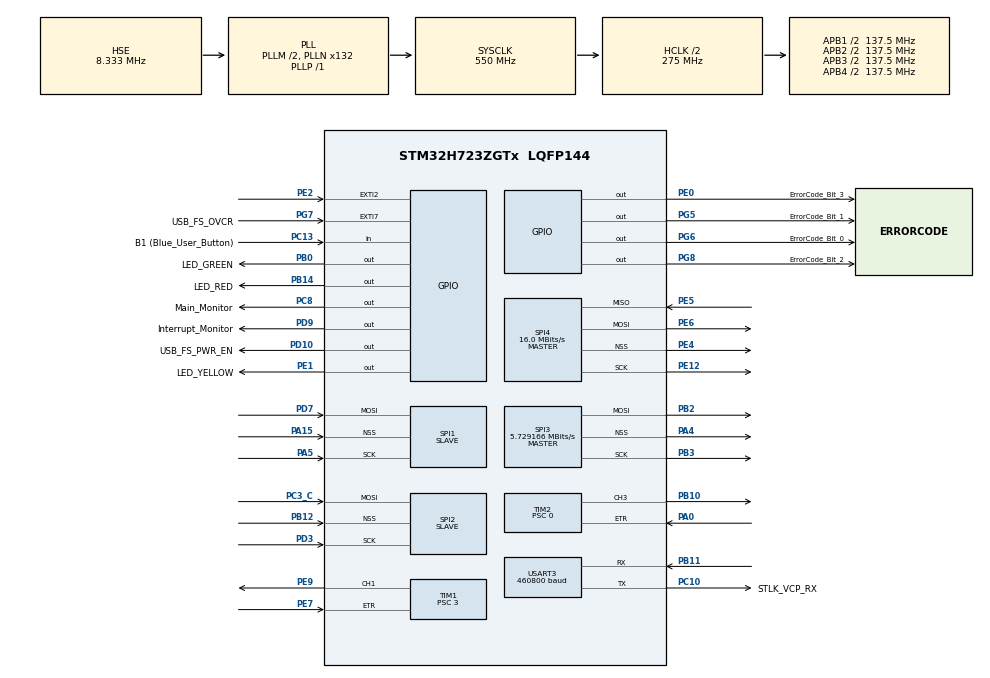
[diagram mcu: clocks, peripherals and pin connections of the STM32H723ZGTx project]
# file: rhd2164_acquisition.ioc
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Dma.Request0=SPI3_TX
Dma.Request1=SPI1_RX
Dma.Request2=USART3_TX
Dma.Request3=SPI2_RX
Dma.Request4=SPI4_TX
Dma.SPI1_RX.1.Direction=DMA_PERIPH_TO_MEMORY
Dma.SPI1_RX.1.EventEnable=DISABLE
Dma.SPI1_RX.1.FIFOMode=DMA_FIFOMODE_DISABLE
Dma.SPI1_RX.1.Instance=DMA1_Stream0
Dma.SPI1_RX.1.MemDataAlignment=DMA_MDATAALIGN_WORD
Dma.SPI1_RX.1.MemInc=DMA_MINC_ENABLE
Dma.SPI1_RX.1.Mode=DMA_NORMAL
Dma.SPI1_RX.1.PeriphDataAlignment=DMA_PDATAALIGN_WORD
Dma.SPI1_RX.1.PeriphInc=DMA_PINC_DISABLE
Dma.SPI1_RX.1.Polarity=HAL_DMAMUX_REQ_GEN_RISING
Dma.SPI1_RX.1.Priority=DMA_PRIORITY_VERY_HIGH
Dma.SPI1_RX.1.RequestNumber=1
Dma.SPI1_RX.1.SignalID=NONE
Dma.SPI1_RX.1.SyncEnable=DISABLE
Dma.SPI1_RX.1.SyncPolarity=HAL_DMAMUX_SYNC_NO_EVENT
Dma.SPI1_RX.1.SyncRequestNumber=1
Dma.SPI1_RX.1.SyncSignalID=NONE
Dma.SPI2_RX.3.Direction=DMA_PERIPH_TO_MEMORY
Dma.SPI2_RX.3.EventEnable=DISABLE
Dma.SPI2_RX.3.FIFOMode=DMA_FIFOMODE_DISABLE
Dma.SPI2_RX.3.Instance=DMA1_Stream3
Dma.SPI2_RX.3.MemDataAlignment=DMA_MDATAALIGN_BYTE
Dma.SPI2_RX.3.MemInc=DMA_MINC_ENABLE
Dma.SPI2_RX.3.Mode=DMA_NORMAL
Dma.SPI2_RX.3.PeriphDataAlignment=DMA_PDATAALIGN_BYTE
Dma.SPI2_RX.3.PeriphInc=DMA_PINC_DISABLE
Dma.SPI2_RX.3.Polarity=HAL_DMAMUX_REQ_GEN_RISING
Dma.SPI2_RX.3.Priority=DMA_PRIORITY_VERY_HIGH
Dma.SPI2_RX.3.RequestNumber=1
Dma.SPI2_RX.3.SignalID=NONE
Dma.SPI2_RX.3.SyncEnable=DISABLE
Dma.SPI2_RX.3.SyncPolarity=HAL_DMAMUX_SYNC_NO_EVENT
Dma.SPI2_RX.3.SyncRequestNumber=1
Dma.SPI2_RX.3.SyncSignalID=NONE
Dma.SPI3_TX.0.Direction=DMA_MEMORY_TO_PERIPH
Dma.SPI3_TX.0.EventEnable=DISABLE
Dma.SPI3_TX.0.FIFOMode=DMA_FIFOMODE_DISABLE
Dma.SPI3_TX.0.Instance=DMA1_Stream1
Dma.SPI3_TX.0.MemDataAlignment=DMA_MDATAALIGN_HALFWORD
Dma.SPI3_TX.0.MemInc=DMA_MINC_ENABLE
Dma.SPI3_TX.0.Mode=DMA_NORMAL
Dma.SPI3_TX.0.PeriphDataAlignment=DMA_PDATAALIGN_HALFWORD
Dma.SPI3_TX.0.PeriphInc=DMA_PINC_DISABLE
Dma.SPI3_TX.0.Polarity=HAL_DMAMUX_REQ_GEN_RISING
Dma.SPI3_TX.0.Priority=DMA_PRIORITY_VERY_HIGH
Dma.SPI3_TX.0.RequestNumber=1
Dma.SPI3_TX.0.SignalID=NONE
Dma.SPI3_TX.0.SyncEnable=DISABLE
Dma.SPI3_TX.0.SyncPolarity=HAL_DMAMUX_SYNC_NO_EVENT
Dma.SPI3_TX.0.SyncRequestNumber=1
Dma.SPI3_TX.0.SyncSignalID=NONE
Dma.SPI4_TX.4.Direction=DMA_MEMORY_TO_PERIPH
Dma.SPI4_TX.4.EventEnable=DISABLE
Dma.SPI4_TX.4.FIFOMode=DMA_FIFOMODE_DISABLE
Dma.SPI4_TX.4.Instance=DMA1_Stream4
Dma.SPI4_TX.4.MemDataAlignment=DMA_MDATAALIGN_BYTE
Dma.SPI4_TX.4.MemInc=DMA_MINC_ENABLE
Dma.SPI4_TX.4.Mode=DMA_NORMAL
Dma.SPI4_TX.4.PeriphDataAlignment=DMA_PDATAALIGN_BYTE
Dma.SPI4_TX.4.PeriphInc=DMA_PINC_DISABLE
Dma.SPI4_TX.4.Polarity=HAL_DMAMUX_REQ_GEN_RISING
Dma.SPI4_TX.4.Priority=DMA_PRIORITY_HIGH
Dma.SPI4_TX.4.RequestNumber=1
Dma.SPI4_TX.4.SignalID=NONE
Dma.SPI4_TX.4.SyncEnable=DISABLE
Dma.SPI4_TX.4.SyncPolarity=HAL_DMAMUX_SYNC_NO_EVENT
Dma.SPI4_TX.4.SyncRequestNumber=1
Dma.SPI4_TX.4.SyncSignalID=NONE
Dma.USART3_TX.2.Direction=DMA_MEMORY_TO_PERIPH
Dma.USART3_TX.2.EventEnable=DISABLE
Dma.USART3_TX.2.FIFOMode=DMA_FIFOMODE_DISABLE
Dma.USART3_TX.2.Instance=DMA1_Stream2
Dma.USART3_TX.2.MemDataAlignment=DMA_MDATAALIGN_BYTE
Dma.USART3_TX.2.MemInc=DMA_MINC_ENABLE
Dma.USART3_TX.2.Mode=DMA_NORMAL
Dma.USART3_TX.2.PeriphDataAlignment=DMA_PDATAALIGN_BYTE
Dma.USART3_TX.2.PeriphInc=DMA_PINC_DISABLE
Dma.USART3_TX.2.Polarity=HAL_DMAMUX_REQ_GEN_RISING
Dma.USART3_TX.2.Priority=DMA_PRIORITY_VERY_HIGH
Dma.USART3_TX.2.RequestNumber=1
Dma.USART3_TX.2.SignalID=NONE
Dma.USART3_TX.2.SyncEnable=DISABLE
Dma.USART3_TX.2.SyncPolarity=HAL_DMAMUX_SYNC_NO_EVENT
Dma.USART3_TX.2.SyncRequestNumber=1
Dma.USART3_TX.2.SyncSignalID=NONE
Mcu.Family=STM32H7
Mcu.Name=STM32H723ZGTx
Mcu.Package=LQFP144
NVIC.DMA1_Stream0_IRQn=true\:1\:0\:true\:false\:true\:false\:true\:true
NVIC.DMA1_Stream1_IRQn=true\:1\:0\:true\:false\:true\:false\:true\:true
NVIC.DMA1_Stream2_IRQn=true\:1\:0\:true\:false\:true\:false\:true\:true
NVIC.DMA1_Stream3_IRQn=true\:0\:0\:false\:false\:true\:false\:true\:true
NVIC.DMA1_Stream4_IRQn=true\:0\:0\:false\:false\:true\:false\:true\:true
NVIC.EXTI2_IRQn=true\:0\:0\:false\:false\:true\:true\:true\:true
NVIC.PriorityGroup=NVIC_PRIORITYGROUP_4
NVIC.SPI1_IRQn=true\:1\:0\:true\:false\:true\:false\:true\:true
NVIC.SPI2_IRQn=true\:0\:0\:false\:false\:true\:true\:true\:true
NVIC.SPI3_IRQn=true\:1\:0\:true\:false\:true\:false\:true\:true
NVIC.SPI4_IRQn=true\:0\:0\:false\:false\:true\:false\:true\:true
NVIC.TIM3_IRQn=true\:1\:0\:true\:false\:true\:true\:true\:true
NVIC.USART3_IRQn=true\:1\:0\:true\:false\:true\:true\:true\:true
PA0.GPIO_Speed=GPIO_SPEED_FREQ_VERY_HIGH
PA0.Signal=S_TIM2_CH1_ETR
PA1.GPIO_Label=RMII_REF_CLK
PA1.Signal=ETH_REF_CLK
PA10.GPIO_Label=USB_FS_ID
PA10.Signal=USB_OTG_HS_ID
PA13(JTMS/SWDIO).GPIO_Label=SWDIO
PA13(JTMS/SWDIO).Signal=DEBUG_JTMS-SWDIO
PA14(JTCK/SWCLK).GPIO_Label=SWCLK
PA14(JTCK/SWCLK).Signal=DEBUG_JTCK-SWCLK
PA15(JTDI).GPIO_Speed=GPIO_SPEED_FREQ_VERY_HIGH
PA15(JTDI).Mode=NSS_Signal_Hard_Input
PA15(JTDI).Signal=SPI1_NSS
PA2.GPIO_Label=RMII_MDIO
PA2.Signal=ETH_MDIO
PA4.GPIO_Speed=GPIO_SPEED_FREQ_VERY_HIGH
PA4.Mode=NSS_Signal_Hard_Output
PA4.Signal=SPI3_NSS
PA5.GPIO_Speed=GPIO_SPEED_FREQ_VERY_HIGH
PA5.Mode=RX_Only_Simplex_Unidirect_Slave
PA5.Signal=SPI1_SCK
PA7.GPIO_Label=RMII_CRS_DV
PA7.Signal=ETH_CRS_DV
PA9.GPIO_Label=USB_FS_VBUS
PA9.Signal=USB_OTG_HS_VBUS
PB0.GPIO_Label=LED_GREEN
PB0.Signal=GPIO_Output
PB10.GPIO_Speed=GPIO_SPEED_FREQ_VERY_HIGH
PB10.Signal=S_TIM2_CH3
PB11.GPIO_Speed=GPIO_SPEED_FREQ_VERY_HIGH
PB11.Mode=Asynchronous
PB11.Signal=USART3_RX
PB12.GPIO_Speed=GPIO_SPEED_FREQ_VERY_HIGH
PB12.Mode=NSS_Signal_Hard_Input
PB12.Signal=SPI2_NSS
PB13.GPIO_Label=RMII_TXD1
PB13.Signal=ETH_TXD1
PB14.GPIO_Label=LED_RED
PB14.Signal=GPIO_Output
PB2.GPIO_Speed=GPIO_SPEED_FREQ_VERY_HIGH
PB2.Mode=TX_Only_Simplex_Unidirect_Master
PB2.Signal=SPI3_MOSI
PB3(JTDO/TRACESWO).GPIO_Speed=GPIO_SPEED_FREQ_VERY_HIGH
PB3(JTDO/TRACESWO).Mode=TX_Only_Simplex_Unidirect_Master
PB3(JTDO/TRACESWO).Signal=SPI3_SCK
PC1.GPIO_Label=RMII_MDC
PC1.Signal=ETH_MDC
PC10.GPIO_Label=STLK_VCP_RX
PC10.GPIO_Speed=GPIO_SPEED_FREQ_VERY_HIGH
PC10.Mode=Asynchronous
PC10.Signal=USART3_TX
PC13.GPIO_Label=B1 (Blue_User_Button)
PC13.Signal=GPIO_Input
PC14-OSC32_IN.Mode=LSE-External-Oscillator
PC14-OSC32_IN.Signal=RCC_OSC32_IN
PC15-OSC32_OUT.Mode=LSE-External-Oscillator
PC15-OSC32_OUT.Signal=RCC_OSC32_OUT
PC3_C.GPIO_Speed=GPIO_SPEED_FREQ_VERY_HIGH
PC3_C.Mode=RX_Only_Simplex_Unidirect_Slave
PC3_C.Signal=SPI2_MOSI
PC4.GPIO_Label=RMII_RXD0
PC4.Signal=ETH_RXD0
PC5.GPIO_Label=RMII_RXD1
PC5.Signal=ETH_RXD1
PC6.GPIO_Speed=GPIO_SPEED_FREQ_VERY_HIGH
PC6.Signal=S_TIM8_CH1
PC8.GPIO_Label=Main_Monitor
PC8.GPIO_Speed=GPIO_SPEED_FREQ_VERY_HIGH
PC8.Signal=GPIO_Output
PD10.GPIO_Label=USB_FS_PWR_EN
PD10.Signal=GPIO_Output
PD3.GPIO_Speed=GPIO_SPEED_FREQ_VERY_HIGH
PD3.Mode=RX_Only_Simplex_Unidirect_Slave
PD3.Signal=SPI2_SCK
PD7.GPIO_Speed=GPIO_SPEED_FREQ_VERY_HIGH
PD7.Mode=RX_Only_Simplex_Unidirect_Slave
PD7.Signal=SPI1_MOSI
PD9.GPIO_Label=Interrupt_Monitor
PD9.GPIO_Speed=GPIO_SPEED_FREQ_VERY_HIGH
PD9.PinState=GPIO_PIN_SET
PD9.Signal=GPIO_Output
PE0.GPIO_Label=ErrorCode_Bit_3
PE0.GPIO_Speed=GPIO_SPEED_FREQ_VERY_HIGH
PE0.Signal=GPIO_Output
PE1.GPIO_Label=LED_YELLOW
PE1.Signal=GPIO_Output
PE12.Mode=Full_Duplex_Master
PE12.Signal=SPI4_SCK
PE2.GPIO_ModeDefaultEXTI=GPIO_MODE_IT_FALLING
PE2.Signal=GPXTI2
PE4.Mode=NSS_Signal_Hard_Output
PE4.Signal=SPI4_NSS
PE5.Mode=Full_Duplex_Master
PE5.Signal=SPI4_MISO
PE6.Mode=Full_Duplex_Master
PE6.Signal=SPI4_MOSI
PE7.Signal=S_TIM1_ETR
PE9.GPIO_Speed=GPIO_SPEED_FREQ_VERY_HIGH
PE9.Signal=S_TIM1_CH1
PG11.GPIO_Label=RMII_TX_EN
PG11.Signal=ETH_TX_EN
PG13.GPIO_Label=RMII_TXD0
PG13.Signal=ETH_TXD0
PG5.GPIO_Label=ErrorCode_Bit_1
PG5.GPIO_Speed=GPIO_SPEED_FREQ_VERY_HIGH
PG5.Signal=GPIO_Output
PG6.GPIO_Label=ErrorCode_Bit_0
PG6.GPIO_Speed=GPIO_SPEED_FREQ_VERY_HIGH
PG6.Signal=GPIO_Output
PG7.GPIO_Label=USB_FS_OVCR
PG7.Signal=GPXTI7
PG8.GPIO_Label=ErrorCode_Bit_2
PG8.GPIO_Speed=GPIO_SPEED_FREQ_VERY_HIGH
PG8.Signal=GPIO_Output
PH0-OSC_IN.GPIO_Label=MCO
PH0-OSC_IN.Mode=HSE-External-Clock-Source
PH0-OSC_IN.Signal=RCC_OSC_IN
PH1-OSC_OUT.Signal=RCC_OSC_OUT
ProjectManager.HeapSize=0x200
ProjectManager.StackSize=0x400
ProjectManager.TargetToolchain=STM32CubeIDE
RCC.ADCFreq_Value=91666663
RCC.APB1Freq_Value=137499994.5
RCC.APB2Freq_Value=137499994.5
RCC.APB3Freq_Value=137499994.5
RCC.APB4Freq_Value=137499994.5
RCC.CortexFreq_Value=549999978
RCC.D1PPRE=RCC_APB3_DIV2
RCC.D2PPRE1=RCC_APB1_DIV2
RCC.D2PPRE2=RCC_APB2_DIV2
RCC.D3PPRE=RCC_APB4_DIV2
RCC.DIVM1=2
RCC.DIVM2=1
RCC.DIVN1=132
RCC.DIVN2=33
RCC.DIVP1=1
RCC.DIVP2=3
RCC.DIVQ1=4
RCC.HCLKFreq_Value=274999989
RCC.HPRE=RCC_HCLK_DIV2
RCC.HSE_VALUE=8333333
RCC.PLL2FRACN=0
RCC.PLL3FRACN=0
RCC.PLL3_VCI_Range-AdvancedSettings=RCC_PLL3VCIRANGE_3
RCC.PLL3_VCO_SEL-AdvancedSettings=RCC_PLL3VCOMEDIUM
RCC.PLLFRACN=0
RCC.PLLSourceVirtual=RCC_PLLSOURCE_HSE
RCC.SPI123CLockSelection=RCC_SPI123CLKSOURCE_PLL2
RCC.SYSCLKFreq_VALUE=549999978
RCC.SYSCLKSource=RCC_SYSCLKSOURCE_PLLCLK
RCC.Spi45ClockSelection=RCC_SPI45CLKSOURCE_HSI
RCC.USBCLockSelection=RCC_USBCLKSOURCE_HSI48
RCC.USBFreq_Value=48000000
SH.S_TIM1_CH1.0=TIM1_CH1,PWM Generation1 CH1
SH.S_TIM1_ETR.0=TIM1_ETR,TriggerSource_ETR
SH.S_TIM2_CH1_ETR.0=TIM2_ETR,TriggerSource_ETR
SH.S_TIM2_CH3.0=TIM2_CH3,PWM Generation3 CH3
SH.S_TIM8_CH1.0=TIM8_CH1
SPI1.DataSize=SPI_DATASIZE_32BIT
SPI1.Direction=SPI_DIRECTION_2LINES_RXONLY
SPI1.Mode=SPI_MODE_SLAVE
SPI1.VirtualNSS=VM_NSSHARD
SPI1.VirtualType=VM_SLAVE
SPI2.DataSize=SPI_DATASIZE_32BIT
SPI2.Direction=SPI_DIRECTION_2LINES_RXONLY
SPI2.Mode=SPI_MODE_SLAVE
SPI2.VirtualNSS=VM_NSSHARD
SPI2.VirtualType=VM_SLAVE
SPI3.BaudRatePrescaler=SPI_BAUDRATEPRESCALER_16
SPI3.CalculateBaudRate=5.729166 MBits/s
SPI3.DataSize=SPI_DATASIZE_16BIT
SPI3.Direction=SPI_DIRECTION_2LINES_TXONLY
SPI3.MasterInterDataIdleness=SPI_MASTER_INTERDATA_IDLENESS_06CYCLE
SPI3.Mode=SPI_MODE_MASTER
SPI3.VirtualNSS=VM_NSSHARD
SPI3.VirtualType=VM_MASTER
SPI4.BaudRatePrescaler=SPI_BAUDRATEPRESCALER_4
SPI4.CalculateBaudRate=16.0 MBits/s
SPI4.DataSize=SPI_DATASIZE_8BIT
SPI4.Direction=SPI_DIRECTION_2LINES
SPI4.Mode=SPI_MODE_MASTER
SPI4.VirtualNSS=VM_NSSHARD
SPI4.VirtualType=VM_MASTER
STMicroelectronics.X-CUBE-ALGOBUILD.1.4.0.LibraryCcDSPOoLibraryJjDSPOoLibrary=true
TIM1.AutoReloadPreload=TIM_AUTORELOAD_PRELOAD_DISABLE
TIM1.Break2Polarity=TIM_BREAK2POLARITY_LOW
TIM1.BreakPolarity=TIM_BREAKPOLARITY_LOW
TIM1.Channel-PWM\ Generation1\ CH1=TIM_CHANNEL_1
TIM1.OC1Preload_PWM=DISABLE
TIM1.OCFastMode_PWM-PWM\ Generation1\ CH1=TIM_OCFAST_ENABLE
TIM1.OCIdleState_1=TIM_OCIDLESTATE_SET
TIM1.OCMode_PWM-PWM\ Generation1\ CH1=TIM_OCMODE_PWM1
TIM1.OCPolarity_1=TIM_OCPOLARITY_HIGH
TIM1.Period=5
TIM1.Prescaler=3
TIM1.Pulse-PWM\ Generation1\ CH1=3
TIM1.RepetitionCounter=31
TIM1.Slave_TriggerFilter=5
TIM1.Slave_TriggerPolarity=TIM_TRIGGERPOLARITY_INVERTED
TIM2.Channel-PWM\ Generation3\ CH3=TIM_CHANNEL_3
TIM2.OCMode_PWM-PWM\ Generation3\ CH3=TIM_OCMODE_PWM2
TIM2.Period=10
TIM2.Prescaler=0
TIM2.Pulse-PWM\ Generation3\ CH3=1
TIM2.Slave_TriggerPolarity=TIM_TRIGGERPOLARITY_INVERTED
TIM2.TIM_MasterOutputTrigger=TIM_TRGO_OC3REF
TIM3.AutoReloadPreload=TIM_AUTORELOAD_PRELOAD_ENABLE
TIM3.Channel-Output\ Compare1\ No\ Output=TIM_CHANNEL_1
TIM3.Period=13750
TIM3.Prescaler=3
USART3.BaudRate=460800
USART3.Mode=MODE_TX
USART3.OverSampling=UART_OVERSAMPLING_8
USART3.OverrunDisableParam=ADVFEATURE_OVERRUN_ENABLE
USART3.VirtualMode-Asynchronous=VM_ASYNC
VP_MEMORYMAP_VS_MEMORYMAP.Mode=CurAppReg
VP_STMicroelectronics.X-CUBE-ALGOBUILD_VS_DSPOoLibraryJjLibrary_1.4.0_1.4.0.Mode=DSPOoLibraryJjLibrary
VP_TIM1_VS_ClockSourceINT.Mode=Internal
VP_TIM1_VS_ControllerModeTrigger.Mode=Trigger Mode
VP_TIM1_VS_OPM.Mode=OPM_bit
VP_TIM2_VS_ControllerModeTrigger.Mode=Trigger Mode
VP_TIM2_VS_OPM.Mode=OPM_bit
VP_TIM3_VS_no_output1.Mode=Output Compare1 No Output
board=NUCLEO-H723ZG

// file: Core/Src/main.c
/* USER CODE BEGIN Header */
/**
  ******************************************************************************
  * @file           : main.c
  * @brief          : Main program body
  ******************************************************************************
  * @attention
  *
  * Copyright (c) 2023 STMicroelectronics.
  * All rights reserved.
  *
  * This software is licensed under terms that can be found in the LICENSE file
  * in the root directory of this software component.
  * If no LICENSE file comes with this software, it is provided AS-IS.
  *
  ******************************************************************************

  Intan Technologies RHD STM32 Firmware Framework
  Version 1.1

  Copyright (c) 2024 Intan Technologies

  This file is part of the Intan Technologies RHD STM32 Firmware Framework.

  Permission is hereby granted, free of charge, to any person obtaining a copy
  of this software and associated documentation files (the “Software�?), to deal
  in the Software without restriction, including without limitation the rights
  to use, copy, modify, merge, publish, distribute, sublicense, and/or sell
  copies of the Software, and to permit persons to whom the Software is
  furnished to do so, subject to the following conditions:

  The above copyright notice and this permission notice shall be included in
  all copies or substantial portions of the Software.

  THE SOFTWARE IS PROVIDED “AS IS�?, WITHOUT WARRANTY OF ANY KIND, EXPRESS OR
  IMPLIED, INCLUDING BUT NOT LIMITED TO THE WARRANTIES OF MERCHANTABILITY,
  FITNESS FOR A PARTICULAR PURPOSE AND NONINFRINGEMENT. IN NO EVENT SHALL THE
  AUTHORS OR COPYRIGHT HOLDERS BE LIABLE FOR ANY CLAIM, DAMAGES OR OTHER
  LIABILITY, WHETHER IN AN ACTION OF CONTRACT, TORT OR OTHERWISE, ARISING FROM,
  OUT OF OR IN CONNECTION WITH THE SOFTWARE OR THE USE OR OTHER DEALINGS IN
  THE SOFTWARE.

  See <http://www.intantech.com> for documentation and product information.

  */
/* USER CODE END Header */
#include "main.h"

/* USER CODE BEGIN Includes */
#include "userfunctions.h"
/* USER CODE END Includes */

SPI_HandleTypeDef hspi1;
SPI_HandleTypeDef hspi2;
SPI_HandleTypeDef hspi3;
SPI_HandleTypeDef hspi4;
DMA_HandleTypeDef hdma_spi1_rx;
DMA_HandleTypeDef hdma_spi2_rx;
DMA_HandleTypeDef hdma_spi3_tx;
DMA_HandleTypeDef hdma_spi4_tx;

TIM_HandleTypeDef htim1;
TIM_HandleTypeDef htim2;
TIM_HandleTypeDef htim3;

UART_HandleTypeDef huart3;
DMA_HandleTypeDef hdma_usart3_tx;

void SystemClock_Config(void);
void PeriphCommonClock_Config(void);
static void MX_GPIO_Init(void);
static void MX_DMA_Init(void);
static void MX_TIM1_Init(void);
static void MX_TIM2_Init(void);
static void MX_TIM3_Init(void);
static void MX_SPI3_Init(void);
static void MX_SPI1_Init(void);
static void MX_USART3_UART_Init(void);
static void MX_SPI2_Init(void);
static void MX_SPI4_Init(void);

int main(void)
{

  /* MCU Configuration--------------------------------------------------------*/

  /* Reset of all peripherals, Initializes the Flash interface and the Systick. */
  HAL_Init();

  /* Configure the system clock */
  SystemClock_Config();

  /* Configure the peripherals common clocks */
  PeriphCommonClock_Config();

  /* USER CODE BEGIN SysInit */

  // Wait for 500 ms after program starts.
  // This is due to a STM32CubeIDE-related bug that runs previously loaded software briefly on the target device
  // before running the new software when downloading and running new code. This doesn't happen when triggering a hardware
  // reset, for example pushing the RESET button on a NUCLEO board, or when downloading/running using
  // STM32CubeProgrammer. For these cases, this delay can be removed.
  // When this bug does occur, we recommend including a delay of ~500 ms so that this brief running of the previously
  // loaded program doesn't have any interaction with any peripherals and this re-run program does nothing important.
  // In practice, 50 ms is likely enough of a pause from our testing, but 500 ms is even safer.
  wait_ms(500);

  /* USER CODE END SysInit */

  /* Initialize all configured peripherals */
  MX_GPIO_Init();
  MX_DMA_Init();
  MX_TIM1_Init();
  MX_TIM2_Init();
  MX_TIM3_Init();
  MX_SPI3_Init();
  MX_SPI1_Init();
  MX_USART3_UART_Init();
  MX_SPI2_Init();
  MX_SPI4_Init();
  /* USER CODE BEGIN 2 */

  TIM1->EGR |= TIM_EGR_UG;  // update event

  // Write register values to pause all used timers when execution pauses during debug
  SET_BIT(DBGMCU->APB1LFZ1, 0b10); // enable pausing TIM3 during debug
  SET_BIT(DBGMCU->APB1LFZ1, 0b1); // enable pausing TIM2 during debug
  SET_BIT(DBGMCU->APB2FZ1, 0b1); // enable pausing TIM1 during debug

  // Allocate sample_memory array which will be used to store acquired data.
  allocate_sample_memory();

  // Set up SPI DMA configuration for when SPI transfers begin.
  initialize_spi_with_dma();

  // Set up timers used to generate 32-bit SCLK used to read DDR MISO to trigger once TRANSMIT_SPI CS goes low.
  initialize_ddr_sclk_timers();

  // Initialize Intan chip registers with suitable settings for this application.
  // This not only determines the initial registers, but actually writes them via SPI.
  RHDConfigParameters parameters;
  configure_registers(&parameters);

  // Populate first CONVERT_COMMANDS_PER_SEQUENCE that will repeatedly
  // convert for each sample interrupt.
  // Note that AUX_COMMANDS_PER_SEQUENCE remain unpopulated in command_sequence_MOSI after this.
  configure_convert_commands();

  // Populate the AUX_COMMANDS_PER_SEQUENCE command lists (default 3) with auxiliary commands.
  configure_aux_commands(&parameters);

  // Turn on LED to indicate acquisition is about to start.
  write_pin(LED_GREEN_GPIO_Port, LED_GREEN_Pin, 1);

  // Start timer so that at every period defined by INTERRUPT_TIM, an interrupt occurs, starting an SPI command sequence.

  uint8_t buf[2] = {0x0F, 0x0F};
  uint8_t receiveData[2] = {0x00, 0x00};

  //shake hands
  uint32_t start = HAL_GetTick();
  while(1){

  	HAL_SPI_TransmitReceive(&hspi4, &buf, &receiveData, sizeof(buf), 10);
  	if((receiveData[0] == 0x0F) && (receiveData[1] == 0x0F)){
  			break;
  	}
  }

	//chill out for 20 ms
  start = HAL_GetTick();
	while((start + 20) >= HAL_GetTick());
  enable_interrupt_timer(1);

  main_loop_active = 1;

  /* USER CODE END 2 */

  /* Infinite loop */
  /* USER CODE BEGIN WHILE */

  // Keep looping, doing nothing (other than handling interrupts) until enough data has been gathered

  while (1) {
	  // Break infinite loop when loop_escape() condition have been met.
	  if (loop_escape()) break;

	  // During infinite loop, write this pin High to indicate this main loop is currently processing.
	  write_pin(Main_Monitor_GPIO_Port, Main_Monitor_Pin, 1);
//	  HAL_Delay(500);
//	  i++;

    /* USER CODE END WHILE */

    /* USER CODE BEGIN 3 */

  }

  // Disable TIM to stop sample interrupts.
  enable_interrupt_timer(0);
  main_loop_active = 0;

  // Disable 32-bit SCLK timers.
  end_ddr_sclk_timers();

  // Disable SPI DMA.
  end_spi_with_dma();

  // Transmit accumulated data.
  transmit_data_offline();

  // Free previously allocated sample memory.
  free_sample_memory();

  // Indicate acquisition and data transfer have completed.
  write_pin(LED_GREEN_GPIO_Port, LED_GREEN_Pin, 0);

  // Infinite loop for remainder of program life.
  while (1);

  /* USER CODE END 3 */
}

void SystemClock_Config(void)
{
  RCC_OscInitTypeDef RCC_OscInitStruct = {0};
  RCC_ClkInitTypeDef RCC_ClkInitStruct = {0};

  /** Supply configuration update enable
  */
  HAL_PWREx_ConfigSupply(PWR_LDO_SUPPLY);

  /** Configure the main internal regulator output voltage
  */
  __HAL_PWR_VOLTAGESCALING_CONFIG(PWR_REGULATOR_VOLTAGE_SCALE0);

  while(!__HAL_PWR_GET_FLAG(PWR_FLAG_VOSRDY)) {}

  /** Initializes the RCC Oscillators according to the specified parameters
  * in the RCC_OscInitTypeDef structure.
  */
  RCC_OscInitStruct.OscillatorType = RCC_OSCILLATORTYPE_HSI|RCC_OSCILLATORTYPE_HSE;
  RCC_OscInitStruct.HSEState = RCC_HSE_BYPASS;
  RCC_OscInitStruct.HSIState = RCC_HSI_DIV1;
  RCC_OscInitStruct.HSICalibrationValue = 64;
  RCC_OscInitStruct.PLL.PLLState = RCC_PLL_ON;
  RCC_OscInitStruct.PLL.PLLSource = RCC_PLLSOURCE_HSE;
  RCC_OscInitStruct.PLL.PLLM = 2;
  RCC_OscInitStruct.PLL.PLLN = 132;
  RCC_OscInitStruct.PLL.PLLP = 1;
  RCC_OscInitStruct.PLL.PLLQ = 4;
  RCC_OscInitStruct.PLL.PLLR = 2;
  RCC_OscInitStruct.PLL.PLLRGE = RCC_PLL1VCIRANGE_2;
  RCC_OscInitStruct.PLL.PLLVCOSEL = RCC_PLL1VCOWIDE;
  RCC_OscInitStruct.PLL.PLLFRACN = 0;
  if (HAL_RCC_OscConfig(&RCC_OscInitStruct) != HAL_OK)
  {
    Error_Handler();
  }

  /** Initializes the CPU, AHB and APB buses clocks
  */
  RCC_ClkInitStruct.ClockType = RCC_CLOCKTYPE_HCLK|RCC_CLOCKTYPE_SYSCLK
                              |RCC_CLOCKTYPE_PCLK1|RCC_CLOCKTYPE_PCLK2
                              |RCC_CLOCKTYPE_D3PCLK1|RCC_CLOCKTYPE_D1PCLK1;
  RCC_ClkInitStruct.SYSCLKSource = RCC_SYSCLKSOURCE_PLLCLK;
  RCC_ClkInitStruct.SYSCLKDivider = RCC_SYSCLK_DIV1;
  RCC_ClkInitStruct.AHBCLKDivider = RCC_HCLK_DIV2;
  RCC_ClkInitStruct.APB3CLKDivider = RCC_APB3_DIV2;
  RCC_ClkInitStruct.APB1CLKDivider = RCC_APB1_DIV2;
  RCC_ClkInitStruct.APB2CLKDivider = RCC_APB2_DIV2;
  RCC_ClkInitStruct.APB4CLKDivider = RCC_APB4_DIV2;

  if (HAL_RCC_ClockConfig(&RCC_ClkInitStruct, FLASH_LATENCY_3) != HAL_OK)
  {
    Error_Handler();
  }
}

void PeriphCommonClock_Config(void)
{
  RCC_PeriphCLKInitTypeDef PeriphClkInitStruct = {0};

  /** Initializes the peripherals clock
  */
  PeriphClkInitStruct.PeriphClockSelection = RCC_PERIPHCLK_SPI3|RCC_PERIPHCLK_SPI2
                              |RCC_PERIPHCLK_SPI1;
  PeriphClkInitStruct.PLL2.PLL2M = 1;
  PeriphClkInitStruct.PLL2.PLL2N = 33;
  PeriphClkInitStruct.PLL2.PLL2P = 3;
  PeriphClkInitStruct.PLL2.PLL2Q = 2;
  PeriphClkInitStruct.PLL2.PLL2R = 2;
  PeriphClkInitStruct.PLL2.PLL2RGE = RCC_PLL2VCIRANGE_3;
  PeriphClkInitStruct.PLL2.PLL2VCOSEL = RCC_PLL2VCOWIDE;
  PeriphClkInitStruct.PLL2.PLL2FRACN = 0;
  PeriphClkInitStruct.Spi123ClockSelection = RCC_SPI123CLKSOURCE_PLL2;
  if (HAL_RCCEx_PeriphCLKConfig(&PeriphClkInitStruct) != HAL_OK)
  {
    Error_Handler();
  }
}

static void MX_SPI1_Init(void)
{

  /* SPI1 parameter configuration*/
  hspi1.Instance = SPI1;
  hspi1.Init.Mode = SPI_MODE_SLAVE;
  hspi1.Init.Direction = SPI_DIRECTION_2LINES_RXONLY;
  hspi1.Init.DataSize = SPI_DATASIZE_32BIT;
  hspi1.Init.CLKPolarity = SPI_POLARITY_LOW;
  hspi1.Init.CLKPhase = SPI_PHASE_1EDGE;
  hspi1.Init.NSS = SPI_NSS_HARD_INPUT;
  hspi1.Init.FirstBit = SPI_FIRSTBIT_MSB;
  hspi1.Init.TIMode = SPI_TIMODE_DISABLE;
  hspi1.Init.CRCCalculation = SPI_CRCCALCULATION_DISABLE;
  hspi1.Init.CRCPolynomial = 0x0;
  hspi1.Init.NSSPMode = SPI_NSS_PULSE_DISABLE;
  hspi1.Init.NSSPolarity = SPI_NSS_POLARITY_LOW;
  hspi1.Init.FifoThreshold = SPI_FIFO_THRESHOLD_01DATA;
  hspi1.Init.TxCRCInitializationPattern = SPI_CRC_INITIALIZATION_ALL_ZERO_PATTERN;
  hspi1.Init.RxCRCInitializationPattern = SPI_CRC_INITIALIZATION_ALL_ZERO_PATTERN;
  hspi1.Init.MasterSSIdleness = SPI_MASTER_SS_IDLENESS_00CYCLE;
  hspi1.Init.MasterInterDataIdleness = SPI_MASTER_INTERDATA_IDLENESS_00CYCLE;
  hspi1.Init.MasterReceiverAutoSusp = SPI_MASTER_RX_AUTOSUSP_DISABLE;
  hspi1.Init.MasterKeepIOState = SPI_MASTER_KEEP_IO_STATE_DISABLE;
  hspi1.Init.IOSwap = SPI_IO_SWAP_DISABLE;
  if (HAL_SPI_Init(&hspi1) != HAL_OK)
  {
    Error_Handler();
  }

}

static void MX_SPI2_Init(void)
{

  /* SPI2 parameter configuration*/
  hspi2.Instance = SPI2;
  hspi2.Init.Mode = SPI_MODE_SLAVE;
  hspi2.Init.Direction = SPI_DIRECTION_2LINES_RXONLY;
  hspi2.Init.DataSize = SPI_DATASIZE_32BIT;
  hspi2.Init.CLKPolarity = SPI_POLARITY_LOW;
  hspi2.Init.CLKPhase = SPI_PHASE_1EDGE;
  hspi2.Init.NSS = SPI_NSS_HARD_INPUT;
  hspi2.Init.FirstBit = SPI_FIRSTBIT_MSB;
  hspi2.Init.TIMode = SPI_TIMODE_DISABLE;
  hspi2.Init.CRCCalculation = SPI_CRCCALCULATION_DISABLE;
  hspi2.Init.CRCPolynomial = 0x0;
  hspi2.Init.NSSPMode = SPI_NSS_PULSE_DISABLE;
  hspi2.Init.NSSPolarity = SPI_NSS_POLARITY_LOW;
  hspi2.Init.FifoThreshold = SPI_FIFO_THRESHOLD_01DATA;
  hspi2.Init.TxCRCInitializationPattern = SPI_CRC_INITIALIZATION_ALL_ZERO_PATTERN;
  hspi2.Init.RxCRCInitializationPattern = SPI_CRC_INITIALIZATION_ALL_ZERO_PATTERN;
  hspi2.Init.MasterSSIdleness = SPI_MASTER_SS_IDLENESS_00CYCLE;
  hspi2.Init.MasterInterDataIdleness = SPI_MASTER_INTERDATA_IDLENESS_00CYCLE;
  hspi2.Init.MasterReceiverAutoSusp = SPI_MASTER_RX_AUTOSUSP_DISABLE;
  hspi2.Init.MasterKeepIOState = SPI_MASTER_KEEP_IO_STATE_DISABLE;
  hspi2.Init.IOSwap = SPI_IO_SWAP_DISABLE;
  if (HAL_SPI_Init(&hspi2) != HAL_OK)
  {
    Error_Handler();
  }

}

static void MX_SPI3_Init(void)
{

  /* SPI3 parameter configuration*/
  hspi3.Instance = SPI3;
  hspi3.Init.Mode = SPI_MODE_MASTER;
  hspi3.Init.Direction = SPI_DIRECTION_2LINES_TXONLY;
  hspi3.Init.DataSize = SPI_DATASIZE_16BIT;
  hspi3.Init.CLKPolarity = SPI_POLARITY_LOW;
  hspi3.Init.CLKPhase = SPI_PHASE_1EDGE;
  hspi3.Init.NSS = SPI_NSS_HARD_OUTPUT;
  hspi3.Init.BaudRatePrescaler = SPI_BAUDRATEPRESCALER_16;
  hspi3.Init.FirstBit = SPI_FIRSTBIT_MSB;
  hspi3.Init.TIMode = SPI_TIMODE_DISABLE;
  hspi3.Init.CRCCalculation = SPI_CRCCALCULATION_DISABLE;
  hspi3.Init.CRCPolynomial = 0x0;
  hspi3.Init.NSSPMode = SPI_NSS_PULSE_ENABLE;
  hspi3.Init.NSSPolarity = SPI_NSS_POLARITY_LOW;
  hspi3.Init.FifoThreshold = SPI_FIFO_THRESHOLD_01DATA;
  hspi3.Init.TxCRCInitializationPattern = SPI_CRC_INITIALIZATION_ALL_ZERO_PATTERN;
  hspi3.Init.RxCRCInitializationPattern = SPI_CRC_INITIALIZATION_ALL_ZERO_PATTERN;
  hspi3.Init.MasterSSIdleness = SPI_MASTER_SS_IDLENESS_00CYCLE;
  hspi3.Init.MasterInterDataIdleness = SPI_MASTER_INTERDATA_IDLENESS_06CYCLE;
  hspi3.Init.MasterReceiverAutoSusp = SPI_MASTER_RX_AUTOSUSP_DISABLE;
  hspi3.Init.MasterKeepIOState = SPI_MASTER_KEEP_IO_STATE_DISABLE;
  hspi3.Init.IOSwap = SPI_IO_SWAP_DISABLE;
  if (HAL_SPI_Init(&hspi3) != HAL_OK)
  {
    Error_Handler();
  }

}

static void MX_SPI4_Init(void)
{

  /* SPI4 parameter configuration*/
  hspi4.Instance = SPI4;
  hspi4.Init.Mode = SPI_MODE_MASTER;
  hspi4.Init.Direction = SPI_DIRECTION_2LINES;
  hspi4.Init.DataSize = SPI_DATASIZE_8BIT;
  hspi4.Init.CLKPolarity = SPI_POLARITY_LOW;
  hspi4.Init.CLKPhase = SPI_PHASE_1EDGE;
  hspi4.Init.NSS = SPI_NSS_HARD_OUTPUT;
  hspi4.Init.BaudRatePrescaler = SPI_BAUDRATEPRESCALER_4;
  hspi4.Init.FirstBit = SPI_FIRSTBIT_MSB;
  hspi4.Init.TIMode = SPI_TIMODE_DISABLE;
  hspi4.Init.CRCCalculation = SPI_CRCCALCULATION_DISABLE;
  hspi4.Init.CRCPolynomial = 0x0;
  hspi4.Init.NSSPMode = SPI_NSS_PULSE_ENABLE;
  hspi4.Init.NSSPolarity = SPI_NSS_POLARITY_LOW;
  hspi4.Init.FifoThreshold = SPI_FIFO_THRESHOLD_01DATA;
  hspi4.Init.TxCRCInitializationPattern = SPI_CRC_INITIALIZATION_ALL_ZERO_PATTERN;
  hspi4.Init.RxCRCInitializationPattern = SPI_CRC_INITIALIZATION_ALL_ZERO_PATTERN;
  hspi4.Init.MasterSSIdleness = SPI_MASTER_SS_IDLENESS_00CYCLE;
  hspi4.Init.MasterInterDataIdleness = SPI_MASTER_INTERDATA_IDLENESS_00CYCLE;
  hspi4.Init.MasterReceiverAutoSusp = SPI_MASTER_RX_AUTOSUSP_DISABLE;
  hspi4.Init.MasterKeepIOState = SPI_MASTER_KEEP_IO_STATE_DISABLE;
  hspi4.Init.IOSwap = SPI_IO_SWAP_DISABLE;
  if (HAL_SPI_Init(&hspi4) != HAL_OK)
  {
    Error_Handler();
  }

}

static void MX_TIM1_Init(void)
{

  TIM_ClockConfigTypeDef sClockSourceConfig = {0};
  TIM_SlaveConfigTypeDef sSlaveConfig = {0};
  TIM_MasterConfigTypeDef sMasterConfig = {0};
  TIM_OC_InitTypeDef sConfigOC = {0};
  TIM_BreakDeadTimeConfigTypeDef sBreakDeadTimeConfig = {0};

  htim1.Instance = TIM1;
  htim1.Init.Prescaler = 3;
  htim1.Init.CounterMode = TIM_COUNTERMODE_UP;
  htim1.Init.Period = 5;
  htim1.Init.ClockDivision = TIM_CLOCKDIVISION_DIV1;
  htim1.Init.RepetitionCounter = 31;
  htim1.Init.AutoReloadPreload = TIM_AUTORELOAD_PRELOAD_DISABLE;
  if (HAL_TIM_Base_Init(&htim1) != HAL_OK)
  {
    Error_Handler();
  }
  sClockSourceConfig.ClockSource = TIM_CLOCKSOURCE_INTERNAL;
  if (HAL_TIM_ConfigClockSource(&htim1, &sClockSourceConfig) != HAL_OK)
  {
    Error_Handler();
  }
  if (HAL_TIM_PWM_Init(&htim1) != HAL_OK)
  {
    Error_Handler();
  }
  if (HAL_TIM_OnePulse_Init(&htim1, TIM_OPMODE_SINGLE) != HAL_OK)
  {
    Error_Handler();
  }
  sSlaveConfig.SlaveMode = TIM_SLAVEMODE_TRIGGER;
  sSlaveConfig.InputTrigger = TIM_TS_ETRF;
  sSlaveConfig.TriggerPolarity = TIM_TRIGGERPOLARITY_INVERTED;
  sSlaveConfig.TriggerPrescaler = TIM_TRIGGERPRESCALER_DIV1;
  sSlaveConfig.TriggerFilter = 5;
  if (HAL_TIM_SlaveConfigSynchro(&htim1, &sSlaveConfig) != HAL_OK)
  {
    Error_Handler();
  }
  sMasterConfig.MasterOutputTrigger = TIM_TRGO_RESET;
  sMasterConfig.MasterOutputTrigger2 = TIM_TRGO2_RESET;
  sMasterConfig.MasterSlaveMode = TIM_MASTERSLAVEMODE_DISABLE;
  if (HAL_TIMEx_MasterConfigSynchronization(&htim1, &sMasterConfig) != HAL_OK)
  {
    Error_Handler();
  }
  sConfigOC.OCMode = TIM_OCMODE_PWM1;
  sConfigOC.Pulse = 3;
  sConfigOC.OCPolarity = TIM_OCPOLARITY_HIGH;
  sConfigOC.OCNPolarity = TIM_OCNPOLARITY_HIGH;
  sConfigOC.OCFastMode = TIM_OCFAST_ENABLE;
  sConfigOC.OCIdleState = TIM_OCIDLESTATE_SET;
  sConfigOC.OCNIdleState = TIM_OCNIDLESTATE_RESET;
  if (HAL_TIM_PWM_ConfigChannel(&htim1, &sConfigOC, TIM_CHANNEL_1) != HAL_OK)
  {
    Error_Handler();
  }
  __HAL_TIM_DISABLE_OCxPRELOAD(&htim1, TIM_CHANNEL_1);
  sBreakDeadTimeConfig.OffStateRunMode = TIM_OSSR_DISABLE;
  sBreakDeadTimeConfig.OffStateIDLEMode = TIM_OSSI_DISABLE;
  sBreakDeadTimeConfig.LockLevel = TIM_LOCKLEVEL_OFF;
  sBreakDeadTimeConfig.DeadTime = 0;
  sBreakDeadTimeConfig.BreakState = TIM_BREAK_DISABLE;
  sBreakDeadTimeConfig.BreakPolarity = TIM_BREAKPOLARITY_LOW;
  sBreakDeadTimeConfig.BreakFilter = 0;
  sBreakDeadTimeConfig.Break2State = TIM_BREAK2_DISABLE;
  sBreakDeadTimeConfig.Break2Polarity = TIM_BREAK2POLARITY_LOW;
  sBreakDeadTimeConfig.Break2Filter = 0;
  sBreakDeadTimeConfig.AutomaticOutput = TIM_AUTOMATICOUTPUT_DISABLE;
  if (HAL_TIMEx_ConfigBreakDeadTime(&htim1, &sBreakDeadTimeConfig) != HAL_OK)
  {
    Error_Handler();
  }
  HAL_TIM_MspPostInit(&htim1);

}

static void MX_TIM2_Init(void)
{

  TIM_SlaveConfigTypeDef sSlaveConfig = {0};
  TIM_MasterConfigTypeDef sMasterConfig = {0};
  TIM_OC_InitTypeDef sConfigOC = {0};

  htim2.Instance = TIM2;
  htim2.Init.Prescaler = 0;
  htim2.Init.CounterMode = TIM_COUNTERMODE_UP;
  htim2.Init.Period = 10;
  htim2.Init.ClockDivision = TIM_CLOCKDIVISION_DIV1;
  htim2.Init.AutoReloadPreload = TIM_AUTORELOAD_PRELOAD_DISABLE;
  if (HAL_TIM_Base_Init(&htim2) != HAL_OK)
  {
    Error_Handler();
  }
  if (HAL_TIM_PWM_Init(&htim2) != HAL_OK)
  {
    Error_Handler();
  }
  if (HAL_TIM_OnePulse_Init(&htim2, TIM_OPMODE_SINGLE) != HAL_OK)
  {
    Error_Handler();
  }
  sSlaveConfig.SlaveMode = TIM_SLAVEMODE_TRIGGER;
  sSlaveConfig.InputTrigger = TIM_TS_ETRF;
  sSlaveConfig.TriggerPolarity = TIM_TRIGGERPOLARITY_INVERTED;
  sSlaveConfig.TriggerPrescaler = TIM_TRIGGERPRESCALER_DIV1;
  sSlaveConfig.TriggerFilter = 0;
  if (HAL_TIM_SlaveConfigSynchro(&htim2, &sSlaveConfig) != HAL_OK)
  {
    Error_Handler();
  }
  sMasterConfig.MasterOutputTrigger = TIM_TRGO_OC3REF;
  sMasterConfig.MasterSlaveMode = TIM_MASTERSLAVEMODE_DISABLE;
  if (HAL_TIMEx_MasterConfigSynchronization(&htim2, &sMasterConfig) != HAL_OK)
  {
    Error_Handler();
  }
  sConfigOC.OCMode = TIM_OCMODE_PWM2;
  sConfigOC.Pulse = 1;
  sConfigOC.OCPolarity = TIM_OCPOLARITY_HIGH;
  sConfigOC.OCFastMode = TIM_OCFAST_DISABLE;
  if (HAL_TIM_PWM_ConfigChannel(&htim2, &sConfigOC, TIM_CHANNEL_3) != HAL_OK)
  {
    Error_Handler();
  }
  HAL_TIM_MspPostInit(&htim2);

}

static void MX_TIM3_Init(void)
{

  TIM_MasterConfigTypeDef sMasterConfig = {0};
  TIM_OC_InitTypeDef sConfigOC = {0};

  htim3.Instance = TIM3;
  htim3.Init.Prescaler = 3;
  htim3.Init.CounterMode = TIM_COUNTERMODE_UP;
  htim3.Init.Period = 13750;
  htim3.Init.ClockDivision = TIM_CLOCKDIVISION_DIV1;
  htim3.Init.AutoReloadPreload = TIM_AUTORELOAD_PRELOAD_ENABLE;
  if (HAL_TIM_OC_Init(&htim3) != HAL_OK)
  {
    Error_Handler();
  }
  sMasterConfig.MasterOutputTrigger = TIM_TRGO_RESET;
  sMasterConfig.MasterSlaveMode = TIM_MASTERSLAVEMODE_DISABLE;
  if (HAL_TIMEx_MasterConfigSynchronization(&htim3, &sMasterConfig) != HAL_OK)
  {
    Error_Handler();
  }
  sConfigOC.OCMode = TIM_OCMODE_TIMING;
  sConfigOC.Pulse = 0;
  sConfigOC.OCPolarity = TIM_OCPOLARITY_HIGH;
  sConfigOC.OCFastMode = TIM_OCFAST_DISABLE;
  if (HAL_TIM_OC_ConfigChannel(&htim3, &sConfigOC, TIM_CHANNEL_1) != HAL_OK)
  {
    Error_Handler();
  }

}

static void MX_USART3_UART_Init(void)
{

  huart3.Instance = USART3;
  huart3.Init.BaudRate = 460800;
  huart3.Init.WordLength = UART_WORDLENGTH_8B;
  huart3.Init.StopBits = UART_STOPBITS_1;
  huart3.Init.Parity = UART_PARITY_NONE;
  huart3.Init.Mode = UART_MODE_TX;
  huart3.Init.HwFlowCtl = UART_HWCONTROL_NONE;
  huart3.Init.OverSampling = UART_OVERSAMPLING_8;
  huart3.Init.OneBitSampling = UART_ONE_BIT_SAMPLE_DISABLE;
  huart3.Init.ClockPrescaler = UART_PRESCALER_DIV1;
  huart3.AdvancedInit.AdvFeatureInit = UART_ADVFEATURE_NO_INIT;
  if (HAL_UART_Init(&huart3) != HAL_OK)
  {
    Error_Handler();
  }
  if (HAL_UARTEx_SetTxFifoThreshold(&huart3, UART_TXFIFO_THRESHOLD_1_8) != HAL_OK)
  {
    Error_Handler();
  }
  if (HAL_UARTEx_SetRxFifoThreshold(&huart3, UART_RXFIFO_THRESHOLD_1_8) != HAL_OK)
  {
    Error_Handler();
  }
  if (HAL_UARTEx_DisableFifoMode(&huart3) != HAL_OK)
  {
    Error_Handler();
  }

}

static void MX_DMA_Init(void)
{

  /* DMA controller clock enable */
  __HAL_RCC_DMA1_CLK_ENABLE();

  /* DMA interrupt init */
  /* DMA1_Stream0_IRQn interrupt configuration */
  HAL_NVIC_SetPriority(DMA1_Stream0_IRQn, 1, 0);
  HAL_NVIC_EnableIRQ(DMA1_Stream0_IRQn);
  /* DMA1_Stream1_IRQn interrupt configuration */
  HAL_NVIC_SetPriority(DMA1_Stream1_IRQn, 1, 0);
  HAL_NVIC_EnableIRQ(DMA1_Stream1_IRQn);
  /* DMA1_Stream2_IRQn interrupt configuration */
  HAL_NVIC_SetPriority(DMA1_Stream2_IRQn, 1, 0);
  HAL_NVIC_EnableIRQ(DMA1_Stream2_IRQn);
  /* DMA1_Stream3_IRQn interrupt configuration */
  HAL_NVIC_SetPriority(DMA1_Stream3_IRQn, 0, 0);
  HAL_NVIC_EnableIRQ(DMA1_Stream3_IRQn);
  /* DMA1_Stream4_IRQn interrupt configuration */
  HAL_NVIC_SetPriority(DMA1_Stream4_IRQn, 0, 0);
  HAL_NVIC_EnableIRQ(DMA1_Stream4_IRQn);

}

static void MX_GPIO_Init(void)
{
  GPIO_InitTypeDef GPIO_InitStruct = {0};

  /* GPIO Ports Clock Enable */
  __HAL_RCC_GPIOE_CLK_ENABLE();
  __HAL_RCC_GPIOC_CLK_ENABLE();
  __HAL_RCC_GPIOH_CLK_ENABLE();
  __HAL_RCC_GPIOA_CLK_ENABLE();
  __HAL_RCC_GPIOB_CLK_ENABLE();
  __HAL_RCC_GPIOD_CLK_ENABLE();
  __HAL_RCC_GPIOG_CLK_ENABLE();

  /*Configure GPIO pin Output Level */
  HAL_GPIO_WritePin(GPIOB, LED_GREEN_Pin|LED_RED_Pin, GPIO_PIN_RESET);

  /*Configure GPIO pin Output Level */
  HAL_GPIO_WritePin(Interrupt_Monitor_GPIO_Port, Interrupt_Monitor_Pin, GPIO_PIN_SET);

  /*Configure GPIO pin Output Level */
  HAL_GPIO_WritePin(USB_FS_PWR_EN_GPIO_Port, USB_FS_PWR_EN_Pin, GPIO_PIN_RESET);

  /*Configure GPIO pin Output Level */
  HAL_GPIO_WritePin(GPIOG, ErrorCode_Bit_1_Pin|ErrorCode_Bit_0_Pin|ErrorCode_Bit_2_Pin, GPIO_PIN_RESET);

  /*Configure GPIO pin Output Level */
  HAL_GPIO_WritePin(Main_Monitor_GPIO_Port, Main_Monitor_Pin, GPIO_PIN_RESET);

  /*Configure GPIO pin Output Level */
  HAL_GPIO_WritePin(GPIOE, ErrorCode_Bit_3_Pin|LED_YELLOW_Pin, GPIO_PIN_RESET);

  /*Configure GPIO pin : PE2 */
  GPIO_InitStruct.Pin = GPIO_PIN_2;
  GPIO_InitStruct.Mode = GPIO_MODE_IT_FALLING;
  GPIO_InitStruct.Pull = GPIO_NOPULL;
  HAL_GPIO_Init(GPIOE, &GPIO_InitStruct);

  /*Configure GPIO pin : B1_Pin */
  GPIO_InitStruct.Pin = B1_Pin;
  GPIO_InitStruct.Mode = GPIO_MODE_INPUT;
  GPIO_InitStruct.Pull = GPIO_NOPULL;
  HAL_GPIO_Init(B1_GPIO_Port, &GPIO_InitStruct);

  /*Configure GPIO pins : RMII_MDC_Pin RMII_RXD0_Pin RMII_RXD1_Pin */
  GPIO_InitStruct.Pin = RMII_MDC_Pin|RMII_RXD0_Pin|RMII_RXD1_Pin;
  GPIO_InitStruct.Mode = GPIO_MODE_AF_PP;
  GPIO_InitStruct.Pull = GPIO_NOPULL;
  GPIO_InitStruct.Speed = GPIO_SPEED_FREQ_LOW;
  GPIO_InitStruct.Alternate = GPIO_AF11_ETH;
  HAL_GPIO_Init(GPIOC, &GPIO_InitStruct);

  /*Configure GPIO pins : RMII_REF_CLK_Pin RMII_MDIO_Pin RMII_CRS_DV_Pin */
  GPIO_InitStruct.Pin = RMII_REF_CLK_Pin|RMII_MDIO_Pin|RMII_CRS_DV_Pin;
  GPIO_InitStruct.Mode = GPIO_MODE_AF_PP;
  GPIO_InitStruct.Pull = GPIO_NOPULL;
  GPIO_InitStruct.Speed = GPIO_SPEED_FREQ_LOW;
  GPIO_InitStruct.Alternate = GPIO_AF11_ETH;
  HAL_GPIO_Init(GPIOA, &GPIO_InitStruct);

  /*Configure GPIO pins : LED_GREEN_Pin LED_RED_Pin */
  GPIO_InitStruct.Pin = LED_GREEN_Pin|LED_RED_Pin;
  GPIO_InitStruct.Mode = GPIO_MODE_OUTPUT_PP;
  GPIO_InitStruct.Pull = GPIO_NOPULL;
  GPIO_InitStruct.Speed = GPIO_SPEED_FREQ_LOW;
  HAL_GPIO_Init(GPIOB, &GPIO_InitStruct);

  /*Configure GPIO pin : RMII_TXD1_Pin */
  GPIO_InitStruct.Pin = RMII_TXD1_Pin;
  GPIO_InitStruct.Mode = GPIO_MODE_AF_PP;
  GPIO_InitStruct.Pull = GPIO_NOPULL;
  GPIO_InitStruct.Speed = GPIO_SPEED_FREQ_LOW;
  GPIO_InitStruct.Alternate = GPIO_AF11_ETH;
  HAL_GPIO_Init(RMII_TXD1_GPIO_Port, &GPIO_InitStruct);

  /*Configure GPIO pin : Interrupt_Monitor_Pin */
  GPIO_InitStruct.Pin = Interrupt_Monitor_Pin;
  GPIO_InitStruct.Mode = GPIO_MODE_OUTPUT_PP;
  GPIO_InitStruct.Pull = GPIO_NOPULL;
  GPIO_InitStruct.Speed = GPIO_SPEED_FREQ_VERY_HIGH;
  HAL_GPIO_Init(Interrupt_Monitor_GPIO_Port, &GPIO_InitStruct);

  /*Configure GPIO pin : USB_FS_PWR_EN_Pin */
  GPIO_InitStruct.Pin = USB_FS_PWR_EN_Pin;
  GPIO_InitStruct.Mode = GPIO_MODE_OUTPUT_PP;
  GPIO_InitStruct.Pull = GPIO_NOPULL;
  GPIO_InitStruct.Speed = GPIO_SPEED_FREQ_LOW;
  HAL_GPIO_Init(USB_FS_PWR_EN_GPIO_Port, &GPIO_InitStruct);

  /*Configure GPIO pins : ErrorCode_Bit_1_Pin ErrorCode_Bit_0_Pin ErrorCode_Bit_2_Pin */
  GPIO_InitStruct.Pin = ErrorCode_Bit_1_Pin|ErrorCode_Bit_0_Pin|ErrorCode_Bit_2_Pin;
  GPIO_InitStruct.Mode = GPIO_MODE_OUTPUT_PP;
  GPIO_InitStruct.Pull = GPIO_NOPULL;
  GPIO_InitStruct.Speed = GPIO_SPEED_FREQ_VERY_HIGH;
  HAL_GPIO_Init(GPIOG, &GPIO_InitStruct);

  /*Configure GPIO pin : USB_FS_OVCR_Pin */
  GPIO_InitStruct.Pin = USB_FS_OVCR_Pin;
  GPIO_InitStruct.Mode = GPIO_MODE_IT_RISING;
  GPIO_InitStruct.Pull = GPIO_NOPULL;
  HAL_GPIO_Init(USB_FS_OVCR_GPIO_Port, &GPIO_InitStruct);

  /*Configure GPIO pin : PC6 */
  GPIO_InitStruct.Pin = GPIO_PIN_6;
  GPIO_InitStruct.Mode = GPIO_MODE_AF_PP;
  GPIO_InitStruct.Pull = GPIO_NOPULL;
  GPIO_InitStruct.Speed = GPIO_SPEED_FREQ_VERY_HIGH;
  GPIO_InitStruct.Alternate = GPIO_AF3_TIM8;
  HAL_GPIO_Init(GPIOC, &GPIO_InitStruct);

  /*Configure GPIO pin : Main_Monitor_Pin */
  GPIO_InitStruct.Pin = Main_Monitor_Pin;
  GPIO_InitStruct.Mode = GPIO_MODE_OUTPUT_PP;
  GPIO_InitStruct.Pull = GPIO_NOPULL;
  GPIO_InitStruct.Speed = GPIO_SPEED_FREQ_VERY_HIGH;
  HAL_GPIO_Init(Main_Monitor_GPIO_Port, &GPIO_InitStruct);

  /*Configure GPIO pin : USB_FS_ID_Pin */
  GPIO_InitStruct.Pin = USB_FS_ID_Pin;
  GPIO_InitStruct.Mode = GPIO_MODE_AF_PP;
  GPIO_InitStruct.Pull = GPIO_NOPULL;
  GPIO_InitStruct.Speed = GPIO_SPEED_FREQ_LOW;
  GPIO_InitStruct.Alternate = GPIO_AF10_OTG1_HS;
  HAL_GPIO_Init(USB_FS_ID_GPIO_Port, &GPIO_InitStruct);

  /*Configure GPIO pins : RMII_TX_EN_Pin RMII_TXD0_Pin */
  GPIO_InitStruct.Pin = RMII_TX_EN_Pin|RMII_TXD0_Pin;
  GPIO_InitStruct.Mode = GPIO_MODE_AF_PP;
  GPIO_InitStruct.Pull = GPIO_NOPULL;
  GPIO_InitStruct.Speed = GPIO_SPEED_FREQ_LOW;
  GPIO_InitStruct.Alternate = GPIO_AF11_ETH;
  HAL_GPIO_Init(GPIOG, &GPIO_InitStruct);

  /*Configure GPIO pin : ErrorCode_Bit_3_Pin */
  GPIO_InitStruct.Pin = ErrorCode_Bit_3_Pin;
  GPIO_InitStruct.Mode = GPIO_MODE_OUTPUT_PP;
  GPIO_InitStruct.Pull = GPIO_NOPULL;
  GPIO_InitStruct.Speed = GPIO_SPEED_FREQ_VERY_HIGH;
  HAL_GPIO_Init(ErrorCode_Bit_3_GPIO_Port, &GPIO_InitStruct);

  /*Configure GPIO pin : LED_YELLOW_Pin */
  GPIO_InitStruct.Pin = LED_YELLOW_Pin;
  GPIO_InitStruct.Mode = GPIO_MODE_OUTPUT_PP;
  GPIO_InitStruct.Pull = GPIO_NOPULL;
  GPIO_InitStruct.Speed = GPIO_SPEED_FREQ_LOW;
  HAL_GPIO_Init(LED_YELLOW_GPIO_Port, &GPIO_InitStruct);

  /* EXTI interrupt init*/
  HAL_NVIC_SetPriority(EXTI2_IRQn, 0, 0);
  HAL_NVIC_EnableIRQ(EXTI2_IRQn);

}

void Error_Handler(void)
{
  __disable_irq();
  while (1)
  {
  }
}
